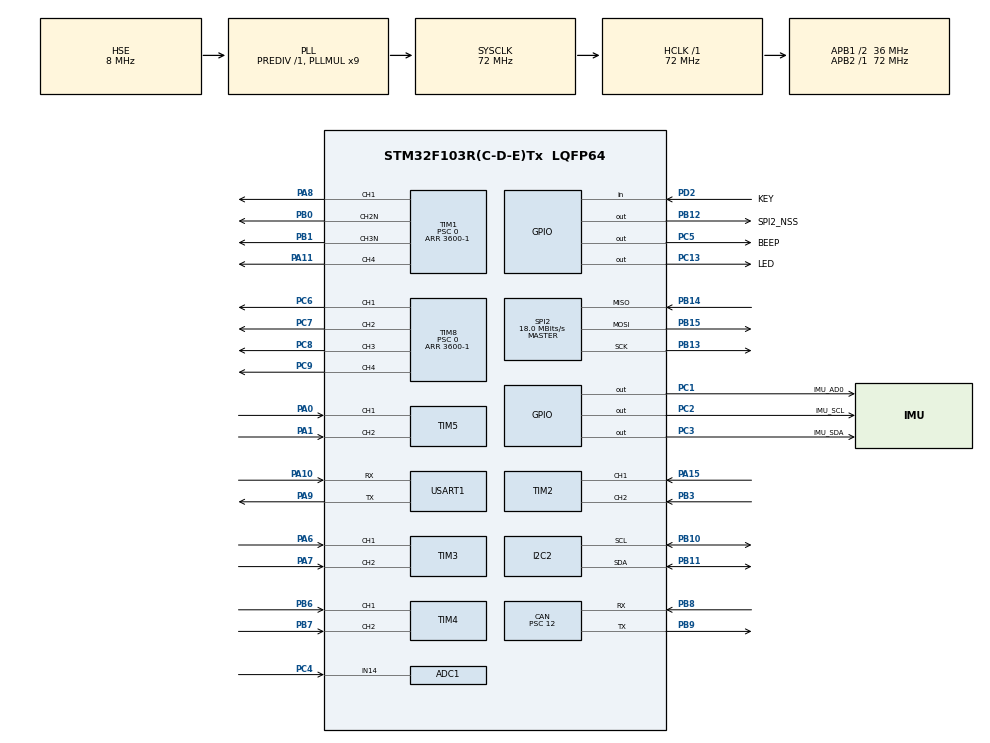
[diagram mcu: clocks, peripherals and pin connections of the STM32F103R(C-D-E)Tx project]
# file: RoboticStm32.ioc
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ADC1.Channel-0\#ChannelRegularConversion=ADC_CHANNEL_14
ADC1.ContinuousConvMode=ENABLE
ADC1.NbrOfConversion=1
ADC1.NbrOfConversionFlag=1
ADC1.Rank-0\#ChannelRegularConversion=1
ADC1.SamplingTime-0\#ChannelRegularConversion=ADC_SAMPLETIME_239CYCLES_5
ADC1.master=1
CAN.BS1=CAN_BS1_2TQ
CAN.BS2=CAN_BS2_3TQ
CAN.CalculateBaudRate=499999
CAN.CalculateTimeBit=2000
CAN.CalculateTimeQuantum=333.33333333333337
CAN.Mode=CAN_MODE_NORMAL
CAN.Prescaler=12
CAN.SJW=CAN_SJW_2TQ
FREERTOS.Tasks01=defaultTask,24,128,StartDefaultTask,Default,NULL,Dynamic,NULL,NULL
FREERTOS.configTOTAL_HEAP_SIZE=30000
FREERTOS.configUSE_NEWLIB_REENTRANT=1
Mcu.Family=STM32F1
Mcu.Name=STM32F103R(C-D-E)Tx
Mcu.Package=LQFP64
NVIC.PriorityGroup=NVIC_PRIORITYGROUP_4
NVIC.TIM6_IRQn=true\:15\:0\:false\:false\:true\:false\:false\:true\:true
NVIC.TIM7_IRQn=true\:5\:0\:false\:false\:true\:true\:true\:true\:true
NVIC.TimeBase=TIM6_IRQn
NVIC.TimeBaseIP=TIM6
PA0-WKUP.Signal=S_TIM5_CH1
PA1.Signal=S_TIM5_CH2
PA10.Mode=Asynchronous
PA10.Signal=USART1_RX
PA11.Signal=S_TIM1_CH4
PA13.Mode=Serial_Wire
PA13.Signal=SYS_JTMS-SWDIO
PA14.Mode=Serial_Wire
PA14.Signal=SYS_JTCK-SWCLK
PA15.Signal=S_TIM2_CH1_ETR
PA6.Signal=S_TIM3_CH1
PA7.Signal=S_TIM3_CH2
PA8.Signal=S_TIM1_CH1
PA9.Mode=Asynchronous
PA9.Signal=USART1_TX
PB0.Mode=PWM Generation2 CH2N
PB0.Signal=TIM1_CH2N
PB1.Mode=PWM Generation3 CH3N
PB1.Signal=TIM1_CH3N
PB10.Mode=I2C
PB10.Signal=I2C2_SCL
PB11.Mode=I2C
PB11.Signal=I2C2_SDA
PB12.GPIO_Label=SPI2_NSS
PB12.GPIO_PuPd=GPIO_NOPULL
PB12.GPIO_Speed=GPIO_SPEED_FREQ_HIGH
PB12.PinState=GPIO_PIN_SET
PB12.Signal=GPIO_Output
PB13.Mode=Full_Duplex_Master
PB13.Signal=SPI2_SCK
PB14.Mode=Full_Duplex_Master
PB14.Signal=SPI2_MISO
PB15.Mode=Full_Duplex_Master
PB15.Signal=SPI2_MOSI
PB3.Signal=S_TIM2_CH2
PB6.Signal=S_TIM4_CH1
PB7.Signal=S_TIM4_CH2
PB8.Mode=CAN_Activate
PB8.Signal=CAN_RX
PB9.Mode=CAN_Activate
PB9.Signal=CAN_TX
PC1.GPIO_Label=IMU_AD0
PC1.Signal=GPIO_Output
PC13-TAMPER-RTC.GPIO_Label=LED
PC13-TAMPER-RTC.Signal=GPIO_Output
PC2.GPIO_Label=IMU_SCL
PC2.GPIO_ModeDefaultOutputPP=GPIO_MODE_OUTPUT_OD
PC2.GPIO_PuPd=GPIO_PULLUP
PC2.GPIO_Speed=GPIO_SPEED_FREQ_LOW
PC2.PinState=GPIO_PIN_SET
PC2.Signal=GPIO_Output
PC3.GPIO_Label=IMU_SDA
PC3.GPIO_ModeDefaultOutputPP=GPIO_MODE_OUTPUT_OD
PC3.GPIO_PuPd=GPIO_PULLUP
PC3.GPIO_Speed=GPIO_SPEED_FREQ_LOW
PC3.PinState=GPIO_PIN_SET
PC3.Signal=GPIO_Output
PC4.Signal=ADCx_IN14
PC5.GPIO_Label=BEEP
PC5.GPIO_Speed=GPIO_SPEED_FREQ_LOW
PC5.Signal=GPIO_Output
PC6.Signal=S_TIM8_CH1
PC7.Signal=S_TIM8_CH2
PC8.Signal=S_TIM8_CH3
PC9.Signal=S_TIM8_CH4
PD0-OSC_IN.Mode=HSE-External-Oscillator
PD0-OSC_IN.Signal=RCC_OSC_IN
PD1-OSC_OUT.Mode=HSE-External-Oscillator
PD1-OSC_OUT.Signal=RCC_OSC_OUT
PD2.GPIO_Label=KEY
PD2.GPIO_PuPd=GPIO_PULLUP
PD2.Signal=GPIO_Input
ProjectManager.HeapSize=0x200
ProjectManager.StackSize=0x400
ProjectManager.TargetToolchain=STM32CubeIDE
RCC.ADCPresc=RCC_ADCPCLK2_DIV6
RCC.AHBFreq_Value=72000000
RCC.APB1CLKDivider=RCC_HCLK_DIV2
RCC.APB1Freq_Value=36000000
RCC.APB1TimFreq_Value=72000000
RCC.APB2Freq_Value=72000000
RCC.APB2TimFreq_Value=72000000
RCC.HCLKFreq_Value=72000000
RCC.PLLMUL=RCC_PLL_MUL9
RCC.PLLSourceVirtual=RCC_PLLSOURCE_HSE
RCC.SYSCLKFreq_VALUE=72000000
RCC.SYSCLKSource=RCC_SYSCLKSOURCE_PLLCLK
RCC.USBFreq_Value=72000000
SH.ADCx_IN14.0=ADC1_IN14,IN14
SH.S_TIM1_CH1.0=TIM1_CH1,PWM Generation1 CH1
SH.S_TIM1_CH4.0=TIM1_CH4,PWM Generation4 CH4
SH.S_TIM2_CH1_ETR.0=TIM2_CH1,Encoder_Interface
SH.S_TIM2_CH2.0=TIM2_CH2,Encoder_Interface
SH.S_TIM3_CH1.0=TIM3_CH1,Encoder_Interface
SH.S_TIM3_CH2.0=TIM3_CH2,Encoder_Interface
SH.S_TIM4_CH1.0=TIM4_CH1,Encoder_Interface
SH.S_TIM4_CH2.0=TIM4_CH2,Encoder_Interface
SH.S_TIM5_CH1.0=TIM5_CH1,Encoder_Interface
SH.S_TIM5_CH2.0=TIM5_CH2,Encoder_Interface
SH.S_TIM8_CH1.0=TIM8_CH1,PWM Generation1 CH1
SH.S_TIM8_CH2.0=TIM8_CH2,PWM Generation2 CH2
SH.S_TIM8_CH3.0=TIM8_CH3,PWM Generation3 CH3
SH.S_TIM8_CH4.0=TIM8_CH4,PWM Generation4 CH4
SPI2.BaudRatePrescaler=SPI_BAUDRATEPRESCALER_2
SPI2.CalculateBaudRate=18.0 MBits/s
SPI2.Direction=SPI_DIRECTION_2LINES
SPI2.Mode=SPI_MODE_MASTER
SPI2.VirtualType=VM_MASTER
TIM1.AutoReloadPreload=TIM_AUTORELOAD_PRELOAD_ENABLE
TIM1.Channel-PWM\ Generation1\ CH1=TIM_CHANNEL_1
TIM1.Channel-PWM\ Generation2\ CH2N=TIM_CHANNEL_2
TIM1.Channel-PWM\ Generation3\ CH3N=TIM_CHANNEL_3
TIM1.Channel-PWM\ Generation4\ CH4=TIM_CHANNEL_4
TIM1.Period=3600-1
TIM1.Prescaler=0
TIM2.AutoReloadPreload=TIM_AUTORELOAD_PRELOAD_ENABLE
TIM2.EncoderMode=TIM_ENCODERMODE_TI12
TIM2.IC1Filter=0xf
TIM2.IC1Polarity=TIM_ICPOLARITY_RISING
TIM2.IC2Filter=0xf
TIM2.IC2Polarity=TIM_ICPOLARITY_RISING
TIM3.AutoReloadPreload=TIM_AUTORELOAD_PRELOAD_ENABLE
TIM3.EncoderMode=TIM_ENCODERMODE_TI12
TIM3.IC1Filter=0xf
TIM3.IC1Polarity=TIM_ICPOLARITY_RISING
TIM3.IC2Filter=0xf
TIM3.IC2Polarity=TIM_ICPOLARITY_RISING
TIM4.AutoReloadPreload=TIM_AUTORELOAD_PRELOAD_ENABLE
TIM4.EncoderMode=TIM_ENCODERMODE_TI12
TIM4.IC1Filter=0xf
TIM4.IC1Polarity=TIM_ICPOLARITY_FALLING
TIM4.IC2Filter=0xf
TIM4.IC2Polarity=TIM_ICPOLARITY_RISING
TIM5.AutoReloadPreload=TIM_AUTORELOAD_PRELOAD_ENABLE
TIM5.EncoderMode=TIM_ENCODERMODE_TI12
TIM5.IC1Filter=0xf
TIM5.IC1Polarity=TIM_ICPOLARITY_FALLING
TIM5.IC2Filter=0xf
TIM5.IC2Polarity=TIM_ICPOLARITY_RISING
TIM7.AutoReloadPreload=TIM_AUTORELOAD_PRELOAD_ENABLE
TIM7.Period=1000-1
TIM7.Prescaler=7200-1
TIM8.AutoReloadPreload=TIM_AUTORELOAD_PRELOAD_ENABLE
TIM8.Channel-PWM\ Generation1\ CH1=TIM_CHANNEL_1
TIM8.Channel-PWM\ Generation2\ CH2=TIM_CHANNEL_2
TIM8.Channel-PWM\ Generation3\ CH3=TIM_CHANNEL_3
TIM8.Channel-PWM\ Generation4\ CH4=TIM_CHANNEL_4
TIM8.Period=3600-1
TIM8.Prescaler=0
USART1.VirtualMode=VM_ASYNC
VP_FREERTOS_VS_CMSIS_V2.Mode=CMSIS_V2
VP_SYS_VS_tim6.Mode=TIM6
VP_TIM1_VS_ClockSourceINT.Mode=Internal
VP_TIM7_VS_ClockSourceINT.Mode=Enable_Timer
VP_TIM8_VS_ClockSourceINT.Mode=Internal
board=custom

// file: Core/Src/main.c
/* USER CODE BEGIN Header */
/**
  ******************************************************************************
  * @file           : main.c
  * @brief          : Main program body
  ******************************************************************************
  * @attention
  *
  * Copyright (c) 2025 STMicroelectronics.
  * All rights reserved.
  *
  * This software is licensed under terms that can be found in the LICENSE file
  * in the root directory of this software component.
  * If no LICENSE file comes with this software, it is provided AS-IS.
  *
  ******************************************************************************
  */
/* USER CODE END Header */
#include "main.h"
#include "cmsis_os.h"
#include "adc.h"
#include "can.h"
#include "i2c.h"
#include "spi.h"
#include "tim.h"
#include "usart.h"
#include "gpio.h"

/* USER CODE BEGIN Includes */
#include "encoder.h"
#include "oled.h"
/* USER CODE END Includes */

void SystemClock_Config(void);
void MX_FREERTOS_Init(void);

int main(void)
{

  /* MCU Configuration--------------------------------------------------------*/

  /* Reset of all peripherals, Initializes the Flash interface and the Systick. */
  HAL_Init();

  /* Configure the system clock */
  SystemClock_Config();

  /* Initialize all configured peripherals */
  MX_GPIO_Init();
  MX_I2C2_Init();
  MX_TIM1_Init();
  MX_TIM8_Init();
  MX_TIM3_Init();
  MX_USART1_UART_Init();
  MX_TIM2_Init();
  MX_TIM4_Init();
  MX_TIM5_Init();
  MX_ADC1_Init();
  MX_TIM7_Init();
  MX_SPI2_Init();
  MX_CAN_Init();

  /* Init scheduler */
  osKernelInitialize();

  /* Call init function for freertos objects (in cmsis_os2.c) */
  MX_FREERTOS_Init();

  /* Start scheduler */
  osKernelStart();

  /* We should never get here as control is now taken by the scheduler */

  /* Infinite loop */
    while (1) {

    }
}

void SystemClock_Config(void)
{
  RCC_OscInitTypeDef RCC_OscInitStruct = {0};
  RCC_ClkInitTypeDef RCC_ClkInitStruct = {0};
  RCC_PeriphCLKInitTypeDef PeriphClkInit = {0};

  /** Initializes the RCC Oscillators according to the specified parameters
  * in the RCC_OscInitTypeDef structure.
  */
  RCC_OscInitStruct.OscillatorType = RCC_OSCILLATORTYPE_HSE;
  RCC_OscInitStruct.HSEState = RCC_HSE_ON;
  RCC_OscInitStruct.HSEPredivValue = RCC_HSE_PREDIV_DIV1;
  RCC_OscInitStruct.HSIState = RCC_HSI_ON;
  RCC_OscInitStruct.PLL.PLLState = RCC_PLL_ON;
  RCC_OscInitStruct.PLL.PLLSource = RCC_PLLSOURCE_HSE;
  RCC_OscInitStruct.PLL.PLLMUL = RCC_PLL_MUL9;
  if (HAL_RCC_OscConfig(&RCC_OscInitStruct) != HAL_OK)
  {
    Error_Handler();
  }

  /** Initializes the CPU, AHB and APB buses clocks
  */
  RCC_ClkInitStruct.ClockType = RCC_CLOCKTYPE_HCLK|RCC_CLOCKTYPE_SYSCLK
                              |RCC_CLOCKTYPE_PCLK1|RCC_CLOCKTYPE_PCLK2;
  RCC_ClkInitStruct.SYSCLKSource = RCC_SYSCLKSOURCE_PLLCLK;
  RCC_ClkInitStruct.AHBCLKDivider = RCC_SYSCLK_DIV1;
  RCC_ClkInitStruct.APB1CLKDivider = RCC_HCLK_DIV2;
  RCC_ClkInitStruct.APB2CLKDivider = RCC_HCLK_DIV1;

  if (HAL_RCC_ClockConfig(&RCC_ClkInitStruct, FLASH_LATENCY_2) != HAL_OK)
  {
    Error_Handler();
  }
  PeriphClkInit.PeriphClockSelection = RCC_PERIPHCLK_ADC;
  PeriphClkInit.AdcClockSelection = RCC_ADCPCLK2_DIV6;
  if (HAL_RCCEx_PeriphCLKConfig(&PeriphClkInit) != HAL_OK)
  {
    Error_Handler();
  }
}

void HAL_TIM_PeriodElapsedCallback(TIM_HandleTypeDef *htim)
{
  if (htim->Instance == TIM6) {
    HAL_IncTick();
  }
}

void Error_Handler(void)
{
    __disable_irq();
    while (1) {
    }
}

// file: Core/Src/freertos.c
/* USER CODE BEGIN Header */
/**
  ******************************************************************************
  * File Name          : freertos.c
  * Description        : Code for freertos applications
  ******************************************************************************
  * @attention
  *
  * Copyright (c) 2025 STMicroelectronics.
  * All rights reserved.
  *
  * This software is licensed under terms that can be found in the LICENSE file
  * in the root directory of this software component.
  * If no LICENSE file comes with this software, it is provided AS-IS.
  *
  ******************************************************************************
  */
/* USER CODE END Header */

#include "FreeRTOS.h"
#include "task.h"
#include "main.h"
#include "cmsis_os.h"

/* USER CODE BEGIN Includes */
#include <stdio.h>
#include "beef.h"
#include "oled.h"
#include "icm20948.h"
#include "voltage.h"
#include "can_fd.h"
#include "pid.h"
/* USER CODE END Includes */

/* Definitions for defaultTask */
osThreadId_t defaultTaskHandle;
const osThreadAttr_t defaultTask_attributes = {
        .name = "defaultTask",
        .stack_size = 128 * 4,
        .priority = (osPriority_t) osPriorityNormal,
};

/* USER CODE BEGIN FunctionPrototypes */
void IMU_Task(void *argument);

void RTOS_Init(void);

void CAN_FdTask(void *argument);

void MotorTask(void *arg);

/* USER CODE END FunctionPrototypes */

void StartDefaultTask(void *argument);

void MX_FREERTOS_Init(void); /* (MISRA C 2004 rule 8.1) */

void MX_FREERTOS_Init(void) {
    /* USER CODE BEGIN Init */
    RTOS_Init();
    /* USER CODE END Init */

    /* Create the thread(s) */
    /* creation of defaultTask */
    defaultTaskHandle = osThreadNew(StartDefaultTask, NULL, &defaultTask_attributes);

    /* USER CODE BEGIN RTOS_THREADS */
    /* add threads, ... */
    xTaskCreate(IMU_Task, "IMU", 128 * 4, NULL, osPriorityNormal, NULL);
    xTaskCreate(CAN_FdTask, "CAN_FD", 128 * 4, NULL, osPriorityNormal, NULL);
//    xTaskCreate(MotorTask, "Motor", 128 * 4, NULL, osPriorityNormal, NULL);
    /* USER CODE END RTOS_THREADS */

}

void StartDefaultTask(void *argument) {
    /* USER CODE BEGIN StartDefaultTask */
    /* Infinite loop */
    ADC_Voltage_Oled();

    /* USER CODE END StartDefaultTask */
}

/* USER CODE BEGIN Application */
// 外设初始
void RTOS_Init(void) {
    OLED_Init();
    ADC_Voltage_Init();
    Motor_Init();
    Encoder_Init();
}

// IMU任务
void IMU_Task(void *argument) {
    ICM20948_Init();
    AK09916_Init();
    ImuAccel accelData;
    ImuGyro gyroData;
    ImuMag magData;
    ImuReal accelReal;
    ImuReal gyroReal;
    ImuReal magReal;
    uint8_t data;
    while (1) {
         data = AK09916_ReadDeviceID();
        OLED_ShowNum(0, 0, data, 3, 16);
        /* 模拟值 */
        ICM20948_ReadGyro(&gyroData);
        ICM20948_ReadAccel(&accelData);
        AK09916_ReadMag(&magData);
        UART_SendImuData(&huart1, &accelData, &gyroData, &magData);
        vTaskDelay(100);
        /* 真实值 */
        ICM20948_RealData(&accelReal, &gyroReal);
        AK09916_RealData(&magReal);
        UART_SendImuReal(&huart1, &accelReal, &gyroReal, &magReal);
        LED_Flash(100);
        vTaskDelay(100);
    }
}

// CAN_FD任务
void CAN_FdTask(void *argument) {
    /* 发�?�部分初始化变量 */
    CAN_TxHeaderTypeDef TxMessage = {
            .StdId = 0x123,
            .ExtId = 0,
            .IDE = CAN_ID_STD, //或CAN_ID_EXT
            .RTR = CAN_RTR_DATA, //或CAN_RTR_REMOTE
            .DLC = 9,
            .TransmitGlobalTime = DISABLE,
    };
    uint8_t TxData[8] = {0x12, 0x98, 0x24, 0x51, 0x00, 0x00, 0x00, 0x00};
    /* 接收部分初始化变�????????????? */
    CAN_RxHeaderTypeDef RxMessage = {0};
    uint8_t RxData[8] = {0};
    /* 显示发�?�循环次�? */
    uint32_t num = 0;
    uint8_t status;
    while (1) {
        /* 发�?�消�? */
        if (Key_Status == 0) {
            status = CAN_SendMessage(&TxMessage, TxData);
            OLED_ShowNum(0, 0, status, 1, 8);
            /* 循环计数 */
            num++;
            vTaskDelay(100);
        }
        /* 接收并显示消�? */
        if (CAN_ReceiveFlag()) {
            status = CAN_ReceiveMessage(&RxMessage, RxData);
            OLED_ShowNum(20, 0, status, 1, 8);
            OLED_ShowNum(0, 1, RxMessage.StdId, 4, 8);
            OLED_ShowNum(20, 1, RxMessage.DLC, 2, 8);
            OLED_ShowNum(40, 1, RxData[0], 3, 8);
            OLED_ShowNum(60, 1, RxData[1], 3, 8);
            OLED_ShowNum(80, 1, RxData[2], 3, 8);
            OLED_ShowNum(100, 1, RxData[3], 3, 8);
        }
        OLED_ShowNum(0, 2, num, 3, 16);
        vTaskDelay(200);
    }
}

void MotorTask(void *arg) {
    TickType_t xLastWakeTime;

    float target[4] = {0, 0, 0, 30};
    PID_SetTarget(target);
//    Motor_SetSpeed(4, 100);
    while (1) {
        xLastWakeTime = xTaskGetTickCount();
//        OLED_ShowNum(0, 0, Encoder_Read_CNT(1), 5, 16);
//        OLED_ShowNum(50, 0, Encoder_Read_CNT(2),5, 16);
//        OLED_ShowNum(0, 2, Encoder_Read_CNT(3), 5, 16);
//        OLED_ShowNum(0, 2, Encoder_Read_CNT(4),5, 16);
//        PID_Controller();
        vTaskDelayUntil(&xLastWakeTime, 10);
    }
}

/* USER CODE END Application */
